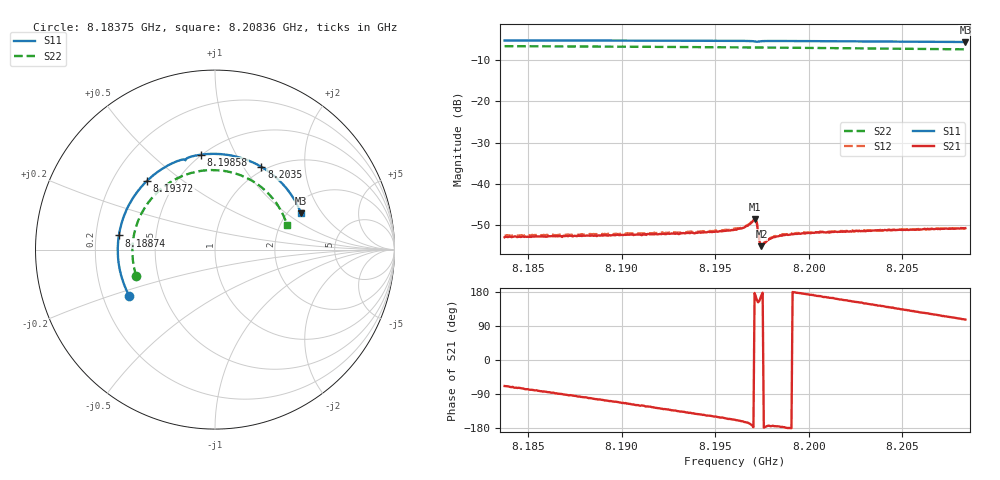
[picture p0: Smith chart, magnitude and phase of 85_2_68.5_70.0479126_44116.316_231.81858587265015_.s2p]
#  HZ  S  RI  R  50.00
! Rohde & Schwarz Vector Network Analyzer
! Rohde-Schwarz,ZNB20-2Port,1311601062101988,3.16
! Created: UTC 3/20/2024, 5:07:33 PM
! freq[Hz]  re:S11  im:S11  re:S21  im:S21  re:S12  im:S12  re:S22  im:S22
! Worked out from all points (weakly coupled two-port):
!   401 points, 8.18375 GHz to 8.20836 GHz, reference 50 ohm
!   highest |S21| = -48.63 dB at 8.1971 GHz (marker M1); lowest = -55.1 dB at 8.19747 GHz (marker M2)
!   lowest |S11| = -5.7 dB at 8.20836 GHz (marker M3), VSWR 3.17, Z = 117 + j64.9 ohm
!   |S11| at or under -10 dB: nowhere
!   |S22| runs from -7.5 to -6.7 dB; largest |S21 - S12| = 0.00019
!   S11 on the Smith chart (normalised r, x): 8.18375 GHz: 0.31, -0.23; 8.18874 GHz: 0.30, +0.07; 8.19372 GHz: 0.35, +0.38; 8.19858 GHz: 0.50, +0.74; 8.2035 GHz: 0.95, +1.21; 8.20836 GHz: 2.33, +1.30
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8.183752e9  -0.4776 -0.2583  0.000822 -0.00211  0.000863 -0.0022  -0.4394 -0.1469
8.185844e9  -0.5284 -0.1221  0.00029 -0.00228  0.000228 -0.00241  -0.4598 -0.0325
8.187875e9  -0.5413 0.0186  -0.000306 -0.00231  -0.000353 -0.00244  -0.4519 0.0798
8.188736e9  -0.5356 0.0786  -0.00059 -0.0023  -0.000596 -0.00237  -0.4401 0.1263
8.190336e9  -0.5074 0.1868  -0.00102 -0.0022  -0.00112 -0.00225  -0.406 0.2081
8.191997e9  -0.4549 0.2906  -0.00149 -0.00196  -0.00158 -0.002  -0.3538 0.2846
8.19372e9  -0.3781 0.3838  -0.00197 -0.00165  -0.00209 -0.00162  -0.2846 0.3509
8.196058e9  -0.2432 0.4784  -0.00258 -0.00106  -0.0027 -0.001  -0.1705 0.4145
8.196612e9  -0.2063 0.4943  -0.00291 -0.00084  -0.00298 -0.000748  -0.1409 0.4247
8.197104e9  -0.1691 0.5011  -0.0037 0.000209  -0.00374 0.000375  -0.114 0.4316
8.197166e9  -0.1656 0.4992  -0.00355 0.000749  -0.00362 0.000924  -0.1107 0.4321
8.197412e9  -0.1603 0.5058  -0.00174 0.00053  -0.00178 0.000575  -0.0973 0.4352
8.197474e9  -0.1563 0.5088  -0.00174 0.000274  -0.00176 0.000322  -0.0939 0.4358
8.197535e9  -0.1519 0.5113  -0.00181 7.93e-05  -0.00186 0.000156  -0.0906 0.4365
8.198027e9  -0.1162 0.5221  -0.00221 -0.000221  -0.00223 -0.00012  -0.0629 0.4404
8.198581e9  -0.0768 0.529  -0.00236 -0.000151  -0.00245 -4.08e-05  -0.0316 0.4429
8.200181e9  0.0366 0.5316  -0.00254 0.000381  -0.00258 0.000529  0.059 0.437
8.201842e9  0.1515 0.5088  -0.00246 0.00098  -0.00244 0.00108  0.1503 0.4113
8.203504e9  0.2586 0.4609  -0.00225 0.00154  -0.00223 0.00164  0.2344 0.3657
8.204303e9  0.3058 0.4295  -0.00208 0.00183  -0.00202 0.00191  0.271 0.3373
8.206395e9  0.4106 0.325  -0.00153 0.00238  -0.00143 0.00245  0.3511 0.245
8.208364e9  0.4788 0.2031  -0.000834 0.00279  -0.000784 0.00282  0.4004 0.1393
